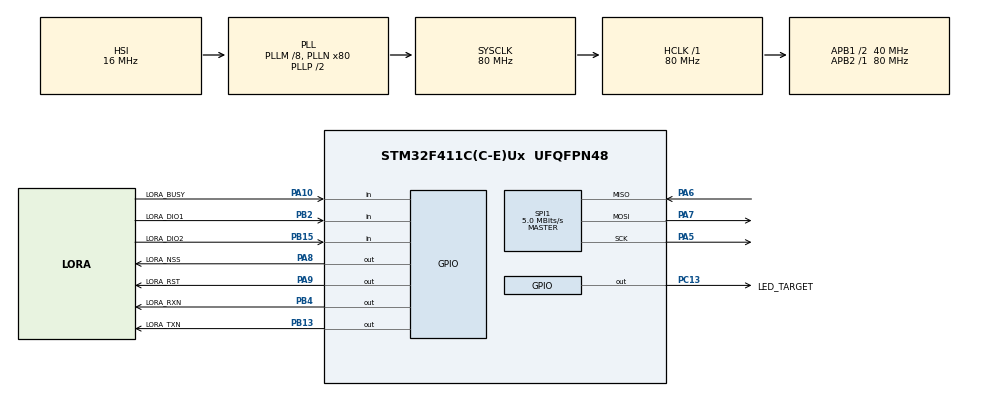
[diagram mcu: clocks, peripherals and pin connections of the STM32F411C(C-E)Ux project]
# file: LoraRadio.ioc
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ADC1.Channel-0\#ChannelRegularConversion=ADC_CHANNEL_TEMPSENSOR
ADC1.NbrOfConversionFlag=1
ADC1.Rank-0\#ChannelRegularConversion=1
ADC1.SamplingTime-0\#ChannelRegularConversion=ADC_SAMPLETIME_3CYCLES
ADC1.master=1
FREERTOS.Tasks01=initTask,24,128,StartInitTask,Default,NULL,Dynamic,NULL,NULL;taskRadioLora,24,128,StartTaskRadio,Default,NULL,Dynamic,NULL,NULL
Mcu.Family=STM32F4
Mcu.Name=STM32F411C(C-E)Ux
Mcu.Package=UFQFPN48
NVIC.PriorityGroup=NVIC_PRIORITYGROUP_4
PA10.GPIO_Label=LORA_BUSY
PA10.Signal=GPIO_Input
PA13.Mode=Serial_Wire
PA13.Signal=SYS_JTMS-SWDIO
PA14.Mode=Serial_Wire
PA14.Signal=SYS_JTCK-SWCLK
PA5.Mode=Full_Duplex_Master
PA5.Signal=SPI1_SCK
PA6.Mode=Full_Duplex_Master
PA6.Signal=SPI1_MISO
PA7.Mode=Full_Duplex_Master
PA7.Signal=SPI1_MOSI
PA8.GPIO_Label=LORA_NSS
PA8.Signal=GPIO_Output
PA9.GPIO_Label=LORA_RST
PA9.Signal=GPIO_Output
PB13.GPIO_Label=LORA_TXN
PB13.Signal=GPIO_Output
PB15.GPIO_Label=LORA_DIO2
PB15.Signal=GPIO_Input
PB2.GPIO_Label=LORA_DIO1
PB2.Signal=GPIO_Input
PB4.GPIO_Label=LORA_RXN
PB4.Signal=GPIO_Output
PC13-ANTI_TAMP.GPIO_Label=LED_TARGET
PC13-ANTI_TAMP.Signal=GPIO_Output
PC14-OSC32_IN.Mode=LSE-External-Oscillator
PC14-OSC32_IN.Signal=RCC_OSC32_IN
PC15-OSC32_OUT.Mode=LSE-External-Oscillator
PC15-OSC32_OUT.Signal=RCC_OSC32_OUT
PH0\ -\ OSC_IN.Mode=HSE-External-Oscillator
PH0\ -\ OSC_IN.Signal=RCC_OSC_IN
PH1\ -\ OSC_OUT.Mode=HSE-External-Oscillator
PH1\ -\ OSC_OUT.Signal=RCC_OSC_OUT
ProjectManager.HeapSize=0x200
ProjectManager.StackSize=0x400
ProjectManager.TargetToolchain=STM32CubeIDE
RCC.48MHZClocksFreq_Value=40000000
RCC.AHBFreq_Value=80000000
RCC.APB1CLKDivider=RCC_HCLK_DIV2
RCC.APB1Freq_Value=40000000
RCC.APB1TimFreq_Value=80000000
RCC.APB2Freq_Value=80000000
RCC.APB2TimFreq_Value=80000000
RCC.CortexFreq_Value=80000000
RCC.HCLKFreq_Value=80000000
RCC.HSE_VALUE=25000000
RCC.HSI_VALUE=16000000
RCC.PLLM=8
RCC.PLLN=80
RCC.SYSCLKFreq_VALUE=80000000
RCC.SYSCLKSource=RCC_SYSCLKSOURCE_PLLCLK
RCC.VCOOutputFreq_Value=160000000
SPI1.BaudRatePrescaler=SPI_BAUDRATEPRESCALER_16
SPI1.CalculateBaudRate=5.0 MBits/s
SPI1.Direction=SPI_DIRECTION_2LINES
SPI1.Mode=SPI_MODE_MASTER
SPI1.VirtualType=VM_MASTER
VP_ADC1_TempSens_Input.Mode=IN-TempSens
VP_FREERTOS_VS_CMSIS_V2.Mode=CMSIS_V2
board=custom

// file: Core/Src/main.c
/* USER CODE BEGIN Header */
//Lora SX1276
/**
  ******************************************************************************
  * @file           : main.c
  * @brief          : Main program body
  ******************************************************************************
  * @attention
  *
  * Copyright (c) 2022 STMicroelectronics.
  * All rights reserved.
  *
  * This software is licensed under terms that can be found in the LICENSE file
  * in the root directory of this software component.
  * If no LICENSE file comes with this software, it is provided AS-IS.
  *
  ******************************************************************************
  */
/* USER CODE END Header */
#include "main.h"
#include "cmsis_os.h"
#include "adc.h"
#include "spi.h"
#include "gpio.h"

/* USER CODE BEGIN PTD */
#include "stdio.h"
int _write(int file, char *ptr, int len)
{
  /* Implement your write code here, this is used by puts and printf for example */
  int i=0;
  for(i=0 ; i<len ; i++)
    ITM_SendChar((*ptr++));
  return len;
}
/* USER CODE END PTD */

void SystemClock_Config(void);
void MX_FREERTOS_Init(void);

int main(void)
{

  /* MCU Configuration--------------------------------------------------------*/

  /* Reset of all peripherals, Initializes the Flash interface and the Systick. */
  HAL_Init();

  /* Configure the system clock */
  SystemClock_Config();

  /* Initialize all configured peripherals */
  MX_GPIO_Init();
  MX_SPI1_Init();
  MX_ADC1_Init();

  /* Init scheduler */
  osKernelInitialize();  /* Call init function for freertos objects (in freertos.c) */
  MX_FREERTOS_Init();
  /* Start scheduler */
  osKernelStart();

  /* We should never get here as control is now taken by the scheduler */
  /* Infinite loop */
  while (1)
  {

  }
}

void SystemClock_Config(void)
{
  RCC_OscInitTypeDef RCC_OscInitStruct = {0};
  RCC_ClkInitTypeDef RCC_ClkInitStruct = {0};

  /** Configure the main internal regulator output voltage
  */
  __HAL_RCC_PWR_CLK_ENABLE();
  __HAL_PWR_VOLTAGESCALING_CONFIG(PWR_REGULATOR_VOLTAGE_SCALE1);
  /** Initializes the RCC Oscillators according to the specified parameters
  * in the RCC_OscInitTypeDef structure.
  */
  RCC_OscInitStruct.OscillatorType = RCC_OSCILLATORTYPE_HSI;
  RCC_OscInitStruct.HSIState = RCC_HSI_ON;
  RCC_OscInitStruct.HSICalibrationValue = RCC_HSICALIBRATION_DEFAULT;
  RCC_OscInitStruct.PLL.PLLState = RCC_PLL_ON;
  RCC_OscInitStruct.PLL.PLLSource = RCC_PLLSOURCE_HSI;
  RCC_OscInitStruct.PLL.PLLM = 8;
  RCC_OscInitStruct.PLL.PLLN = 80;
  RCC_OscInitStruct.PLL.PLLP = RCC_PLLP_DIV2;
  RCC_OscInitStruct.PLL.PLLQ = 4;
  if (HAL_RCC_OscConfig(&RCC_OscInitStruct) != HAL_OK)
  {
    Error_Handler();
  }
  /** Initializes the CPU, AHB and APB buses clocks
  */
  RCC_ClkInitStruct.ClockType = RCC_CLOCKTYPE_HCLK|RCC_CLOCKTYPE_SYSCLK
                              |RCC_CLOCKTYPE_PCLK1|RCC_CLOCKTYPE_PCLK2;
  RCC_ClkInitStruct.SYSCLKSource = RCC_SYSCLKSOURCE_PLLCLK;
  RCC_ClkInitStruct.AHBCLKDivider = RCC_SYSCLK_DIV1;
  RCC_ClkInitStruct.APB1CLKDivider = RCC_HCLK_DIV2;
  RCC_ClkInitStruct.APB2CLKDivider = RCC_HCLK_DIV1;

  if (HAL_RCC_ClockConfig(&RCC_ClkInitStruct, FLASH_LATENCY_2) != HAL_OK)
  {
    Error_Handler();
  }
}

void Error_Handler(void)
{
  __disable_irq();
  while (1)
  {
  }
}

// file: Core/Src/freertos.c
/* USER CODE BEGIN Header */
/**
  ******************************************************************************
  * File Name          : freertos.c
  * Description        : Code for freertos applications
  ******************************************************************************
  * @attention
  *
  * Copyright (c) 2022 STMicroelectronics.
  * All rights reserved.
  *
  * This software is licensed under terms that can be found in the LICENSE file
  * in the root directory of this software component.
  * If no LICENSE file comes with this software, it is provided AS-IS.
  *
  ******************************************************************************
  */
/* USER CODE END Header */

#include "FreeRTOS.h"
#include "task.h"
#include "main.h"
#include "cmsis_os.h"

/* USER CODE BEGIN Includes */
#include "SX1278.h"
#include "spi.h"
#include "gpio.h"
/* USER CODE END Includes */

/* Definitions for initTask */
osThreadId_t initTaskHandle;
const osThreadAttr_t initTask_attributes = {
  .name = "initTask",
  .stack_size = 128 * 4,
  .priority = (osPriority_t) osPriorityNormal,
};
/* Definitions for taskRadioLora */
osThreadId_t taskRadioLoraHandle;
const osThreadAttr_t taskRadioLora_attributes = {
  .name = "taskRadioLora",
  .stack_size = 128 * 4,
  .priority = (osPriority_t) osPriorityNormal,
};

/* USER CODE BEGIN FunctionPrototypes */

SX1278_hw_t SX1278_hw;
SX1278_t SX1278;

int master;
int ret;

char buffer[512];

int message;
int message_length;

/* USER CODE END FunctionPrototypes */

void StartInitTask(void *argument);
void StartTaskRadio(void *argument);

void MX_FREERTOS_Init(void); /* (MISRA C 2004 rule 8.1) */

void MX_FREERTOS_Init(void) {

  /* Create the thread(s) */
  /* creation of initTask */
  initTaskHandle = osThreadNew(StartInitTask, NULL, &initTask_attributes);

  /* creation of taskRadioLora */
  taskRadioLoraHandle = osThreadNew(StartTaskRadio, NULL, &taskRadioLora_attributes);

}

void StartInitTask(void *argument)
{
  for(;;)
  {
    osDelay(1);
  }
}

void StartTaskRadio(void *argument)
{
  /* USER CODE BEGIN StartTaskRadio */
	master = 0;
	if (master == 1) {
		printf("Mode: Master\r\n");
		HAL_GPIO_WritePin(LED_TARGET_GPIO_Port, LED_TARGET_Pin, GPIO_PIN_RESET);
	} else {
		printf("Mode: Slave\r\n");
		HAL_GPIO_WritePin(LED_TARGET_GPIO_Port, LED_TARGET_Pin, GPIO_PIN_SET);
	}

	//initialize LoRa module
	SX1278_hw.dio0.port = LORA_DIO1_GPIO_Port;
	SX1278_hw.dio0.pin = LORA_DIO1_Pin;
	SX1278_hw.nss.port = LORA_NSS_GPIO_Port;
	SX1278_hw.nss.pin = LORA_NSS_Pin;
	SX1278_hw.reset.port = LORA_RST_GPIO_Port;
	SX1278_hw.reset.pin = LORA_RST_Pin;
	SX1278_hw.spi = &hspi1;

	SX1278.hw = &SX1278_hw;

	printf("Configuring LoRa module\r\n");
	//SX1278_init(&SX1278, 433000000, SX1278_POWER_17DBM, SX1278_LORA_SF_7, SX1278_LORA_BW_125KHZ, SX1278_LORA_CR_4_5, SX1278_LORA_CRC_DIS, 8);
	//SX1278_init(&SX1278, 903000000, SX1278_POWER_17DBM, SX1278_LORA_SF_7, SX1278_LORA_BW_125KHZ, SX1278_LORA_CR_4_5, SX1278_LORA_CRC_EN, 8);
	SX1278_init(&SX1278, 903000000, SX1278_POWER_17DBM, SX1278_LORA_SF_11, SX1278_LORA_BW_500KHZ, SX1278_LORA_CR_4_5, SX1278_LORA_CRC_EN, 8);
	printf("Done configuring LoRaModule\r\n");

	if (master == 1) {
		ret = SX1278_LoRaEntryTx(&SX1278, 16, 2000);
		HAL_GPIO_WritePin(LED_TARGET_GPIO_Port, LED_TARGET_Pin, GPIO_PIN_SET);
	} else {
		ret = SX1278_LoRaEntryRx(&SX1278, 5, 2000);
		HAL_GPIO_WritePin(LED_TARGET_GPIO_Port, LED_TARGET_Pin, GPIO_PIN_RESET);
	}
  /* Infinite loop */
  for(;;)
  {
	  if (master == 1) {
		printf("Master ...\r\n");
		osDelay(1000);
		printf("Sending package...\r\n");

		message_length = sprintf(buffer, "Hello %d", message);
		ret = SX1278_LoRaEntryTx(&SX1278, message_length, 2000);
		printf("Entry: %d\r\n", ret);

		printf("Sending %s\r\n", buffer);
		ret = SX1278_LoRaTxPacket(&SX1278, (uint8_t*) buffer,
				message_length, 2000);
		message += 1;

		printf("Transmission: %d\r\n", ret);
		printf("Package sent...\r\n");

	} else {
//		printf("Slave ...\r\n");
		osDelay(500);
//		printf("Receiving package...\r\n");

		ret = SX1278_LoRaRxPacket(&SX1278);
//		printf("Received: %d\r\n", ret);
		if (ret > 0) {
			SX1278_read(&SX1278, (uint8_t*) buffer, ret);
			printf("Content (%d): %s\r\n", ret, buffer);
			for(int i=0;i<ret; i++){
				if(buffer[i] <= 0xF){
					printf("0x0%x,", buffer[i]);
				} else {
					printf("0x%x,", buffer[i]);
				}
			}
			printf("\nPackage received ...\r\n");
		}

	}

//	//change mode
//	if (GPIO_PIN_RESET == HAL_GPIO_ReadPin(MODE_GPIO_Port, MODE_Pin)) {
//		printf("Changing mode\r\n");
//		master = ~master & 0x01;
//		if (master == 1) {
//			ret = SX1278_LoRaEntryTx(&SX1278, 16, 2000);
//			HAL_GPIO_WritePin(LED_GPIO_Port, LED_Pin, GPIO_PIN_SET);
//		} else {
//			ret = SX1278_LoRaEntryRx(&SX1278, 16, 2000);
//			HAL_GPIO_WritePin(LED_GPIO_Port, LED_Pin, GPIO_PIN_RESET);
//		}
//		osDelay(1000);
//		while (GPIO_PIN_RESET == HAL_GPIO_ReadPin(MODE_GPIO_Port, MODE_Pin))
//			;
//	}
  }
  /* USER CODE END StartTaskRadio */
}
